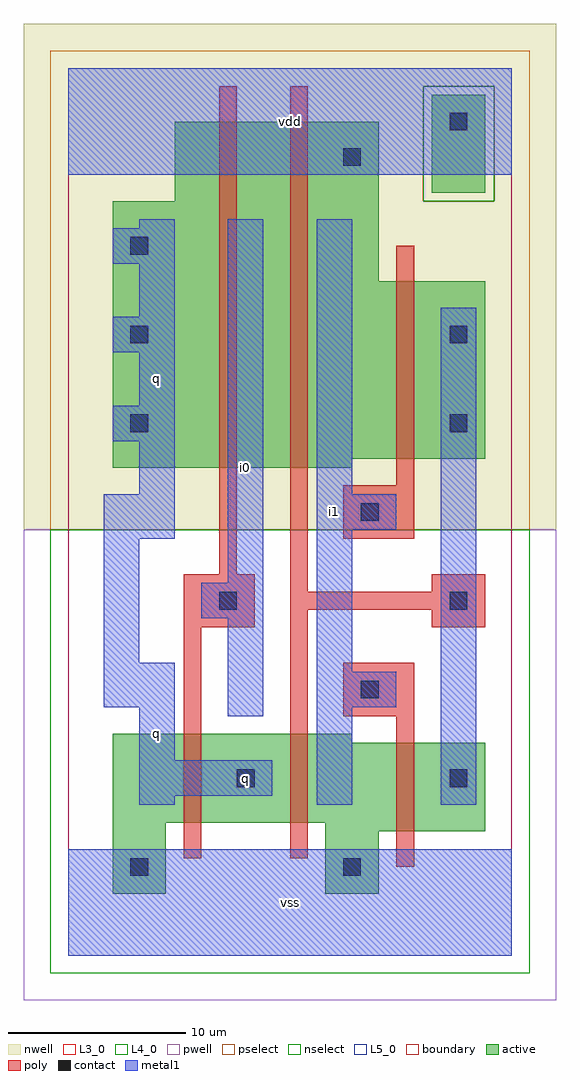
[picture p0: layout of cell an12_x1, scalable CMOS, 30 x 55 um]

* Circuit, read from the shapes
.subckt an12_x1 i0 i1 q vdd vss
M1 q i0 vss VSUBS nfet w=5u l=1u
M2 vss n1 q VSUBS nfet w=5u l=1u
M3 n1 i1 vss VSUBS nfet w=5u l=1u
M4 n2 i0 q vdd pfet w=19.5u l=1u
M5 vdd n1 n2 vdd pfet w=19.5u l=1u
M6 n1 i1 vdd vdd pfet w=10u l=1u
.ends

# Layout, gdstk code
import gdstk
lib = gdstk.Library(unit=1e-6, precision=1e-09)
def R(c, l, rs):  # rectangles x0, y0, x1, y1
    for r in rs: c.add(gdstk.rectangle(r[:2], r[2:], *l))
def A(c, l, x, y, w, h, nx, ny, dx, dy):  # array of equal rectangles
    R(c, l, [(x+i*dx, y+j*dy, x+i*dx+w, y+j*dy+h) for i in range(nx) for j in range(ny)])
L3_0 = (3, 0)
L4_0 = (4, 0)
L5_0 = (5, 0)
contact = (25, 0)
pwell = (41, 0)
nwell = (42, 0)
active = (43, 0)
pselect = (44, 0)
nselect = (45, 0)
poly = (46, 0)
metal1 = (49, 0)
boundary = (63, 0)

an12_x1 = lib.new_cell('an12_x1')
R(an12_x1, L3_0, [(2.5,3.5,5.5,7.5), (14.5,3.5,17.5,7), (14.5,7,23.5,7.5), (2.5,7.5,23.5,12), (2.5,12,16,12.5)])
R(an12_x1, L4_0, [(2.5,27.5,16,28), (2.5,28,23.5,38), (2.5,38,17.5,42.5), (6,42.5,17.5,47)])
R(an12_x1, L5_0, [(20.5,43,23.5,48.5)])
A(an12_x1, contact, 21.5, 9.5, 1, 1, 1, 3, 0, 10)
A(an12_x1, contact, 3.5, 29.5, 1, 1, 1, 3, 0, 5)
R(an12_x1, contact, [(3.5,4.5,4.5,5.5), (15.5,4.5,16.5,5.5), (9.5,9.5,10.5,10.5), (16.5,14.5,17.5,15.5), (8.5,19.5,9.5,20.5), (16.5,24.5,17.5,25.5), (21.5,34.5,22.5,35.5), (15.5,44.5,16.5,45.5), (21.5,46.5,22.5,47.5)])
R(an12_x1, pwell, [(-2.5,-2.5,27.5,24)])
R(an12_x1, nwell, [(-2.5,24,27.5,52.5)])
R(an12_x1, active, [(2.5,3.5,5.5,7.5), (14.5,3.5,17.5,7), (14.5,7,23.5,7.5), (2.5,7.5,23.5,12), (2.5,12,16,12.5), (2.5,27.5,16,28), (2.5,28,23.5,38), (2.5,38,17.5,42.5), (6,42.5,17.5,47), (20.5,43,23.5,48.5)])
R(an12_x1, pselect, [(-1,24,26,42.5), (-1,42.5,20,49), (24,42.5,26,49), (-1,49,26,51)])
R(an12_x1, nselect, [(-1,-1,26,24), (20,42.5,24,49)])
R(an12_x1, poly, [(18.5,5,19.5,13.5), (6.5,5.5,7.5,18.5), (12.5,5.5,13.5,19.5), (15.5,13.5,19.5,16.5), (6.5,18.5,10.5,21.5), (20.5,18.5,23.5,19.5), (12.5,19.5,23.5,20.5), (12.5,20.5,13.5,49), (20.5,20.5,23.5,21.5), (8.5,21.5,9.5,49), (15.5,23.5,19.5,26.5), (18.5,26.5,19.5,40)])
R(an12_x1, metal1, [(0,0,25,6), (0,0,25,6), (4,8.5,6,9), (4,8.5,6,9), (14,8.5,16,14), (14,8.5,16,14), (21,8.5,23,36.5), (21,8.5,23,36.5), (4,9,11.5,11), (4,9,11.5,11), (4,11,6,14), (4,11,6,14), (9,13.5,11,19), (9,13.5,11,19), (2,14,6,16.5), (2,14,6,16.5), (14,14,18.5,16), (14,14,18.5,16), (14,16,16,24), (14,16,16,24), (2,16.5,4,23.5), (2,16.5,4,23.5), (7.5,19,11,21), (7.5,19,11,21), (9,21,11,41.5), (9,21,11,41.5), (2,23.5,6,26), (2,23.5,6,26), (14,24,18.5,26), (14,24,18.5,26), (4,26,6,29), (4,26,6,29), (14,26,16,41.5), (14,26,16,41.5), (2.5,29,6,31), (2.5,29,6,31), (4,31,6,34), (4,31,6,34), (2.5,34,6,36), (2.5,34,6,36), (4,36,6,39), (4,36,6,39), (2.5,39,6,41), (2.5,39,6,41), (4,41,6,41.5), (4,41,6,41.5), (0,44,25,50), (0,44,25,50)])
R(an12_x1, boundary, [(0,0,25,50)])
an12_x1.add(gdstk.Label('q', (10,10), layer=49, texttype=0))
an12_x1.add(gdstk.Label('q', (5,12.5), layer=49, texttype=0))
an12_x1.add(gdstk.Label('q', (5,32.5), layer=49, texttype=0))
an12_x1.add(gdstk.Label('i0', (10,27.5), layer=49, texttype=0))
an12_x1.add(gdstk.Label('vss', (12.5,3), layer=49, texttype=0))
an12_x1.add(gdstk.Label('i1', (15,25), layer=49, texttype=0))
an12_x1.add(gdstk.Label('vdd', (12.5,47), layer=49, texttype=0))

lib.write_gds('an12_x1.gds')
